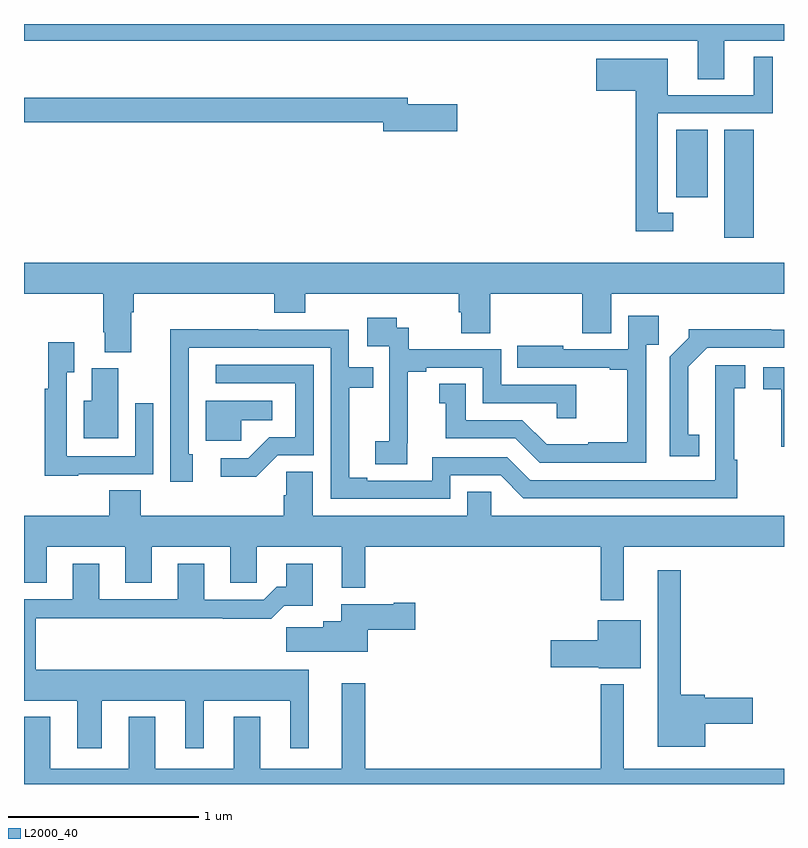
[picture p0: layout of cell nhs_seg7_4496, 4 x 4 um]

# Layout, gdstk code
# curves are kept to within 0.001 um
import gdstk
lib = gdstk.Library(unit=1e-6, precision=1e-09)
def R(c, l, rs):  # rectangles x0, y0, x1, y1
    for r in rs: c.add(gdstk.rectangle(r[:2], r[2:], *l))
def P(c, l, *ps):  # polygons
    for p in ps: c.add(gdstk.Polygon(p, *l))
L2000_40 = (2000, 40)

nhs_seg7_4496 = lib.new_cell('nhs_seg7_4496')
R(nhs_seg7_4496, L2000_40, [(396.686,1036.875,396.841,1037.444), (396.434,1037.088,396.598,1037.444)])
P(nhs_seg7_4496, L2000_40, [(396.685,1037.912),(397,1037.912),(397,1038),(393,1038),(393,1037.912),(396.545,1037.912),(396.545,1037.71),(396.685,1037.71)],
  [(396.418,1037.007),(396.336,1037.007),(396.336,1037.529),(396.94,1037.529),(396.94,1037.827),(396.842,1037.827),(396.842,1037.625),(396.388,1037.625),(396.388,1037.818),(396.012,1037.818),(396.012,1037.648),(396.22,1037.648),(396.22,1036.91),(396.418,1036.91)],
  [(395.281,1037.577),(395.02,1037.577),(395.02,1037.611),(393,1037.611),(393,1037.482),(394.892,1037.482),(394.892,1037.435),(395.281,1037.435)],
  [(393.565,1036.484),(393.578,1036.484),(393.578,1036.58),(394.316,1036.58),(394.316,1036.481),(394.481,1036.481),(394.481,1036.58),(395.288,1036.58),(395.288,1036.482),(395.3,1036.482),(395.3,1036.372),(395.453,1036.372),(395.453,1036.58),(395.939,1036.58),(395.939,1036.372),(396.091,1036.372),(396.091,1036.58),(397,1036.58),(397,1036.744),(393,1036.744),(393,1036.58),(393.418,1036.58),(393.418,1036.378),(393.425,1036.378),(393.425,1036.273),(393.565,1036.273)],
  [(396.276,1036.313),(396.341,1036.313),(396.341,1036.465),(396.18,1036.465),(396.18,1036.287),(395.839,1036.287),(395.839,1036.306),(395.596,1036.306),(395.596,1036.191),(396.083,1036.191),(396.083,1036.179),(396.175,1036.179),(396.175,1035.799),(395.969,1035.799),(395.969,1035.787),(395.75,1035.787),(395.622,1035.915),(395.326,1035.915),(395.326,1036.106),(395.186,1036.106),(395.186,1036.003),(395.219,1036.003),(395.219,1035.819),(395.586,1035.819),(395.715,1035.69),(396.276,1035.69)],
  [(395.018,1035.793),(395.02,1035.793),(395.02,1036.171),(395.116,1036.171),(395.116,1036.191),(395.415,1036.191),(395.415,1036.005),(395.805,1036.005),(395.805,1035.924),(395.906,1035.924),(395.906,1036.101),(395.511,1036.101),(395.511,1036.287),(395.024,1036.287),(395.024,1036.401),(394.962,1036.401),(394.962,1036.453),(394.806,1036.453),(394.806,1036.305),(394.923,1036.305),(394.923,1036.001),(394.922,1036.001),(394.922,1035.804),(394.848,1035.804),(394.848,1035.682),(395.018,1035.682)],
  [(395.244,1035.624),(395.508,1035.624),(395.628,1035.504),(396.755,1035.504),(396.755,1035.707),(396.738,1035.707),(396.738,1036.083),(396.796,1036.083),(396.796,1036.204),(396.638,1036.204),(396.639,1035.6),(395.664,1035.6),(395.544,1035.72),(395.148,1035.72),(395.148,1035.597),(394.807,1035.597),(394.807,1035.612),(394.711,1035.612),(394.711,1036.086),(394.838,1036.086),(394.838,1036.194),(394.71,1036.194),(394.71,1036.392),(394.232,1036.392),(394.232,1036.394),(393.77,1036.394),(393.771,1035.591),(393.889,1035.591),(393.889,1035.735),(393.867,1035.735),(393.867,1036.296),(394.614,1036.296),(394.614,1035.501),(395.244,1035.501)],
  [(396.554,1035.839),(396.496,1035.839),(396.496,1036.195),(396.597,1036.296),(397,1036.296),(397,1036.392),(396.932,1036.392),(396.932,1036.394),(396.498,1036.394),(396.498,1036.349),(396.399,1036.25),(396.399,1035.726),(396.554,1035.726)],
  [(393.285,1035.63),(393.681,1035.63),(393.681,1036.003),(393.585,1036.003),(393.585,1035.726),(393.225,1035.726),(393.225,1036.168),(393.265,1036.168),(393.265,1036.324),(393.128,1036.324),(393.128,1036.079),(393.109,1036.079),(393.109,1035.623),(393.285,1035.623)],
  [(394.335,1035.729),(394.524,1035.729),(394.524,1036.206),(394.008,1036.206),(394.008,1036.11),(394.428,1036.11),(394.428,1035.825),(394.29,1035.825),(394.179,1035.714),(394.035,1035.714),(394.035,1035.617),(394.222,1035.617)],
  [(397,1036.194),(396.891,1036.194),(396.891,1036.078),(396.985,1036.078),(396.985,1035.774),(397,1035.774)],
  [(393.496,1036.188),(393.356,1036.188),(393.356,1036.018),(393.314,1036.018),(393.314,1035.821),(393.496,1035.821)],
  [(394.143,1035.914),(394.306,1035.914),(394.306,1036.018),(393.956,1036.018),(393.956,1035.807),(394.143,1035.807)],
  [(396.157,1035.248),(397,1035.248),(397,1035.412),(395.46,1035.412),(395.46,1035.539),(395.333,1035.539),(395.333,1035.412),(394.519,1035.412),(394.519,1035.644),(394.38,1035.644),(394.38,1035.521),(394.367,1035.521),(394.367,1035.412),(393.614,1035.412),(393.614,1035.545),(393.449,1035.545),(393.449,1035.412),(393,1035.412),(393,1035.058),(393.121,1035.058),(393.121,1035.248),(393.533,1035.248),(393.533,1035.058),(393.673,1035.058),(393.673,1035.248),(394.085,1035.248),(394.085,1035.058),(394.224,1035.058),(394.224,1035.248),(394.673,1035.248),(394.673,1035.032),(394.795,1035.032),(394.795,1035.248),(396.036,1035.248),(396.036,1034.967),(396.157,1034.967)],
  [(393.409,1034.438),(393.848,1034.438),(393.848,1034.187),(393.946,1034.187),(393.946,1034.438),(394.4,1034.438),(394.4,1034.187),(394.498,1034.187),(394.498,1034.602),(393.061,1034.602),(393.061,1034.872),(394.045,1034.872),(394.045,1034.87),(394.301,1034.87),(394.37,1034.939),(394.519,1034.939),(394.519,1035.16),(394.379,1035.16),(394.379,1035.037),(394.33,1035.037),(394.263,1034.97),(393.949,1034.97),(393.949,1035.16),(393.809,1035.16),(393.809,1034.973),(393.397,1034.973),(393.397,1035.16),(393.257,1035.16),(393.257,1034.973),(393,1034.973),(393,1034.438),(393.281,1034.438),(393.281,1034.187),(393.409,1034.187)],
  [(396.586,1034.318),(396.835,1034.318),(396.835,1034.453),(396.582,1034.453),(396.582,1034.471),(396.457,1034.471),(396.457,1035.124),(396.335,1035.124),(396.335,1034.195),(396.586,1034.195)],
  [(394.81,1034.813),(395.059,1034.813),(395.059,1034.955),(394.946,1034.955),(394.946,1034.947),(394.67,1034.947),(394.67,1034.857),(394.574,1034.857),(394.574,1034.825),(394.38,1034.825),(394.38,1034.696),(394.81,1034.696)],
  [(396.247,1034.863),(396.02,1034.863),(396.02,1034.757),(395.772,1034.757),(395.772,1034.615),(396.024,1034.615),(396.024,1034.609),(396.247,1034.609)],
  [(397,1034.08),(396.157,1034.08),(396.157,1034.524),(396.036,1034.524),(396.036,1034.08),(394.795,1034.08),(394.795,1034.53),(394.673,1034.53),(394.673,1034.08),(394.243,1034.08),(394.243,1034.353),(394.103,1034.353),(394.103,1034.08),(393.691,1034.08),(393.691,1034.353),(393.551,1034.353),(393.551,1034.08),(393.139,1034.08),(393.139,1034.353),(393,1034.353),(393,1034),(397,1034)])

lib.write_gds('nhs_seg7_4496.gds')
